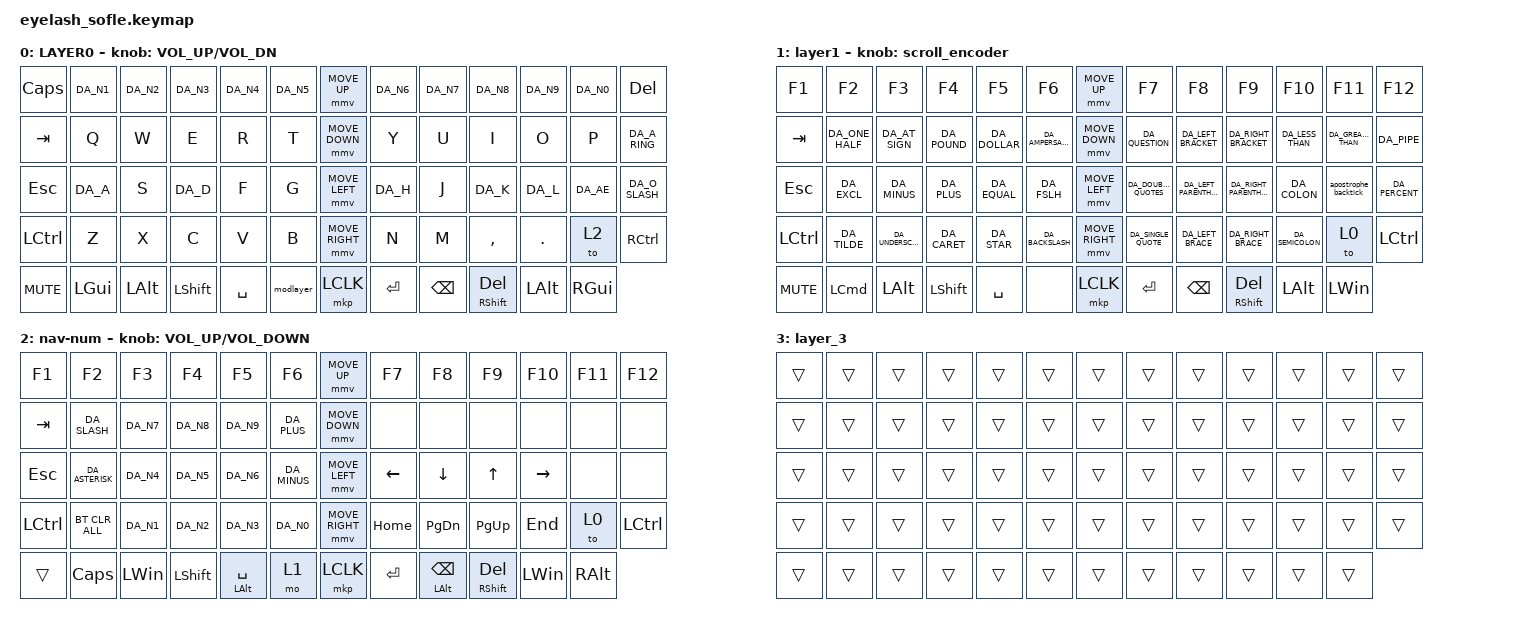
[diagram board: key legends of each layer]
#define ZMK_POINTING_DEFAULT_MOVE_VAL 1200  // 600
#define ZMK_POINTING_DEFAULT_SCRL_VAL 35    // 10

#include <input/processors.dtsi>
#include <zephyr/dt-bindings/input/input-event-codes.h>
#include "keys_da.h"
#include <behaviors.dtsi>
#include <dt-bindings/zmk/bt.h>
#include <dt-bindings/zmk/keys.h>
#include <dt-bindings/zmk/pointing.h>

/ {
    zip_scroll_scaler: zip_scroll_scaler {
        compatible = "zmk,input-processor-scaler";
        #input-processor-cells = <2>;
        type = <INPUT_EV_REL>;
        codes = <INPUT_REL_WHEEL INPUT_REL_HWHEEL>;
        track-remainders;
    };
};

&mmv_input_listener { input-processors = <&zip_xy_scaler 2 1>; };

&msc_input_listener { input-processors = <&zip_scroll_scaler 2 1>; };

&msc {
    acceleration-exponent = <0>;      // 0
    time-to-max-speed-ms = <0>;       // 300
    delay-ms = <0>;                   // 0
};

&mmv {
    time-to-max-speed-ms = <400>;
    acceleration-exponent = <1>;
};

/ {
    scroll_encoder: scroll_encoder {
        compatible = "zmk,behavior-sensor-rotate";
        #sensor-binding-cells = <0>;
        bindings = <&msc SCRL_DOWN>, <&msc SCRL_UP>;

        tap-ms = <30>;
    };

    modlayer: modlayer {
        compatible = "zmk,behavior-mod-morph";
        label = "MODLAYER";
        bindings = <&mo 1>, <&mo 2>;

        #binding-cells = <0>;
        mods = <(MOD_RSFT)>;
    };

    h_left: h_left {
        compatible = "zmk,behavior-mod-morph";
        label = "H_LEFT";
        bindings = <&kp DA_H>, <&kp LEFT>;

        #binding-cells = <0>;
        mods = <(MOD_LCTL)>;
    };

    j_down: j_down {
        compatible = "zmk,behavior-mod-morph";
        label = "J_DOWN";
        bindings = <&kp DA_J>, <&kp DOWN>;

        #binding-cells = <0>;
        mods = <(MOD_LCTL)>;
    };

    k_up: k_up {
        compatible = "zmk,behavior-mod-morph";
        label = "K_UP";
        bindings = <&kp DA_K>, <&kp UP>;

        #binding-cells = <0>;
        mods = <(MOD_LCTL)>;
    };

    l_right: l_right {
        compatible = "zmk,behavior-mod-morph";
        label = "L_RIGHT";
        bindings = <&kp DA_L>, <&kp RIGHT>;

        #binding-cells = <0>;
        mods = <(MOD_LCTL)>;
    };

    delete: delete {
        compatible = "zmk,behavior-mod-morph";
        label = "DELETE";
        bindings = <&kp BACKSPACE>, <&kp DELETE>;

        #binding-cells = <0>;
        mods = <(MOD_LSFT)>;
    };

    tapHoldPrefHold: tapHoldPrefHold {
        compatible = "zmk,behavior-hold-tap";
        label = "TAPHOLDPREFHOLD";
        bindings = <&mo>, <&to>;

        #binding-cells = <2>;
        tapping-term-ms = <124>;
        hold-while-undecided;
        hold-while-undecided-linger;
        require-prior-idle-ms = <0>;
        quick-tap-ms = <200>;
    };

    tapHoldPrefTap: tapHoldPrefTap {
        compatible = "zmk,behavior-hold-tap";
        label = "TAPHOLDPREFTAP";
        bindings = <&kp>, <&kp>;

        #binding-cells = <2>;
        tapping-term-ms = <125>;
        flavor = "tap-preferred";
        quick-tap-ms = <200>;
    };

    new_behavior: new_behavior {
        compatible = "zmk,behavior-hold-tap";
        label = "NEW_BEHAVIOR";
        bindings = <&kp>, <&kp>;

        #binding-cells = <2>;
        tapping-term-ms = <125>;
        flavor = "tap-preferred";
        quick-tap-ms = <200>;
        require-prior-idle-ms = <125>;
    };

    apostrophe_backtick: apostrophe_backtick {
        compatible = "zmk,behavior-mod-morph";
        label = "APOST_BACKT";
        bindings = <&kp DA_GRAVE>, <&kp DA_APOS>;

        #binding-cells = <0>;
        mods = <(MOD_LSFT)>;
    };

    behaviors {
    };

    macros {
        oe: oe {
            compatible = "zmk,behavior-macro";
            #binding-cells = <0>;
            bindings = <&kp LS(A) &kp L &kp T &kp PLUS &kp N0 &kp N2 &kp N1 &kp N6>;
            label = "OE";
        };

        aa: aa {
            compatible = "zmk,behavior-macro";
            #binding-cells = <0>;
            bindings = <&kp LS(A) &kp L &kp T &kp PLUS &kp N1 &kp N4 &kp N3>;
            label = "AA";
        };
    };

    combos {
        compatible = "zmk,combos";

        navLayer {
            bindings = <&mo 2>;
            key-positions = <61 57>;
        };
    };

    keymap {
        compatible = "zmk,keymap";

        alpha {
            bindings = <
&kp CAPS    &kp DA_N1  &kp DA_N2     &kp DA_N3       &kp DA_N4  &kp DA_N5    &mmv MOVE_UP     &kp DA_N6  &kp DA_N7      &kp DA_N8                           &kp DA_N9  &kp DA_N0  &kp DEL
&kp TAB     &kp Q      &kp W         &kp E           &kp R      &kp T        &mmv MOVE_DOWN   &kp Y      &kp U          &kp I                               &kp O      &kp P      &kp DA_A_RING
&kp ESC     &kp DA_A   &kp S         &kp DA_D        &kp F      &kp G        &mmv MOVE_LEFT   &kp DA_H   &kp J          &kp DA_K                            &kp DA_L   &kp DA_AE  &kp DA_O_SLASH
&kp LCTRL   &kp Z      &kp X         &kp C           &kp V      &kp B        &mmv MOVE_RIGHT  &kp N      &kp M          &kp COMMA                           &kp DOT    &to 2      &kp RCTRL
&kp C_MUTE  &kp LGUI   &kp LEFT_ALT  &kp LEFT_SHIFT  &kp SPACE  &modlayer    &mkp LCLK        &kp ENTER  &kp BACKSPACE  &tapHoldPrefTap RIGHT_SHIFT DELETE  &kp LALT   &kp RGUI
            >;

            sensor-bindings = <&inc_dec_kp C_VOLUME_UP C_VOL_DN>;
            display-name = "LAYER0";
        };

        symbol {
            bindings = <
&kp F1      &kp F2           &kp F3             &kp F4        &kp F5         &kp F6              &mmv MOVE_UP     &kp F7                &kp F8                   &kp F9                              &kp F10           &kp F11               &kp F12
&kp TAB     &kp DA_ONE_HALF  &kp DA_AT_SIGN     &kp DA_POUND  &kp DA_DOLLAR  &kp DA_AMPERSAND    &mmv MOVE_DOWN   &kp DA_QUESTION       &kp DA_LEFT_BRACKET      &kp DA_RIGHT_BRACKET                &kp DA_LESS_THAN  &kp DA_GREATER_THAN   &kp DA_PIPE
&kp ESC     &kp DA_EXCL      &kp DA_MINUS       &kp DA_PLUS   &kp DA_EQUAL   &kp DA_FSLH         &mmv MOVE_LEFT   &kp DA_DOUBLE_QUOTES  &kp DA_LEFT_PARENTHESIS  &kp DA_RIGHT_PARENTHESIS            &kp DA_COLON      &apostrophe_backtick  &kp DA_PERCENT
&kp LCTRL   &kp DA_TILDE     &kp DA_UNDERSCORE  &kp DA_CARET  &kp DA_STAR    &kp DA_BACKSLASH    &mmv MOVE_RIGHT  &kp DA_SINGLE_QUOTE   &kp DA_LEFT_BRACE        &kp DA_RIGHT_BRACE                  &kp DA_SEMICOLON  &to 0                 &kp LCTRL
&kp C_MUTE  &kp LCMD         &kp LEFT_ALT       &kp LSHIFT    &kp SPACE      &none               &mkp LCLK        &kp ENTER             &kp BACKSPACE            &tapHoldPrefTap RIGHT_SHIFT DELETE  &kp LEFT_ALT      &kp LWIN
            >;

            display-name = "layer1";
            sensor-bindings = <&scroll_encoder>;
        };

        nav-num {
            bindings = <
&kp F1     &kp F2           &kp F3     &kp F4      &kp F5                          &kp F6          &mmv MOVE_UP     &kp F7          &kp F8                              &kp F9                         &kp F10       &kp F11        &kp F12
&kp TAB    &kp DA_SLASH     &kp DA_N7  &kp DA_N8   &kp DA_N9                       &kp DA_PLUS     &mmv MOVE_DOWN   &none           &none                               &none                          &none         &none          &none
&kp ESC    &kp DA_ASTERISK  &kp DA_N4  &kp DA_N5   &kp DA_N6                       &kp DA_MINUS    &mmv MOVE_LEFT   &kp LEFT_ARROW  &kp DOWN_ARROW                      &kp UP                         &kp RIGHT     &none          &none
&kp LCTRL  &bt BT_CLR_ALL   &kp DA_N1  &kp DA_N2   &kp DA_N3                       &kp DA_N0       &mmv MOVE_RIGHT  &kp HOME        &kp PAGE_DOWN                       &kp PAGE_UP                    &kp END       &to 0          &kp LEFT_CONTROL
&trans     &kp CAPSLOCK     &kp LWIN   &kp LSHIFT  &tapHoldPrefTap LEFT_ALT SPACE  &mo 1           &mkp LCLK        &kp ENTER       &tapHoldPrefTap LEFT_ALT BACKSPACE  &tapHoldPrefTap RSHIFT DELETE  &kp LEFT_WIN  &kp RIGHT_ALT
            >;

            sensor-bindings = <&inc_dec_kp C_VOLUME_UP C_VOLUME_DOWN>;
        };

        layer_3 {
            bindings = <
&trans  &trans  &trans  &trans  &trans  &trans    &trans  &trans  &trans  &trans  &trans  &trans  &trans
&trans  &trans  &trans  &trans  &trans  &trans    &trans  &trans  &trans  &trans  &trans  &trans  &trans
&trans  &trans  &trans  &trans  &trans  &trans    &trans  &trans  &trans  &trans  &trans  &trans  &trans
&trans  &trans  &trans  &trans  &trans  &trans    &trans  &trans  &trans  &trans  &trans  &trans  &trans
&trans  &trans  &trans  &trans  &trans  &trans    &trans  &trans  &trans  &trans  &trans  &trans
            >;
        };
    };
};
